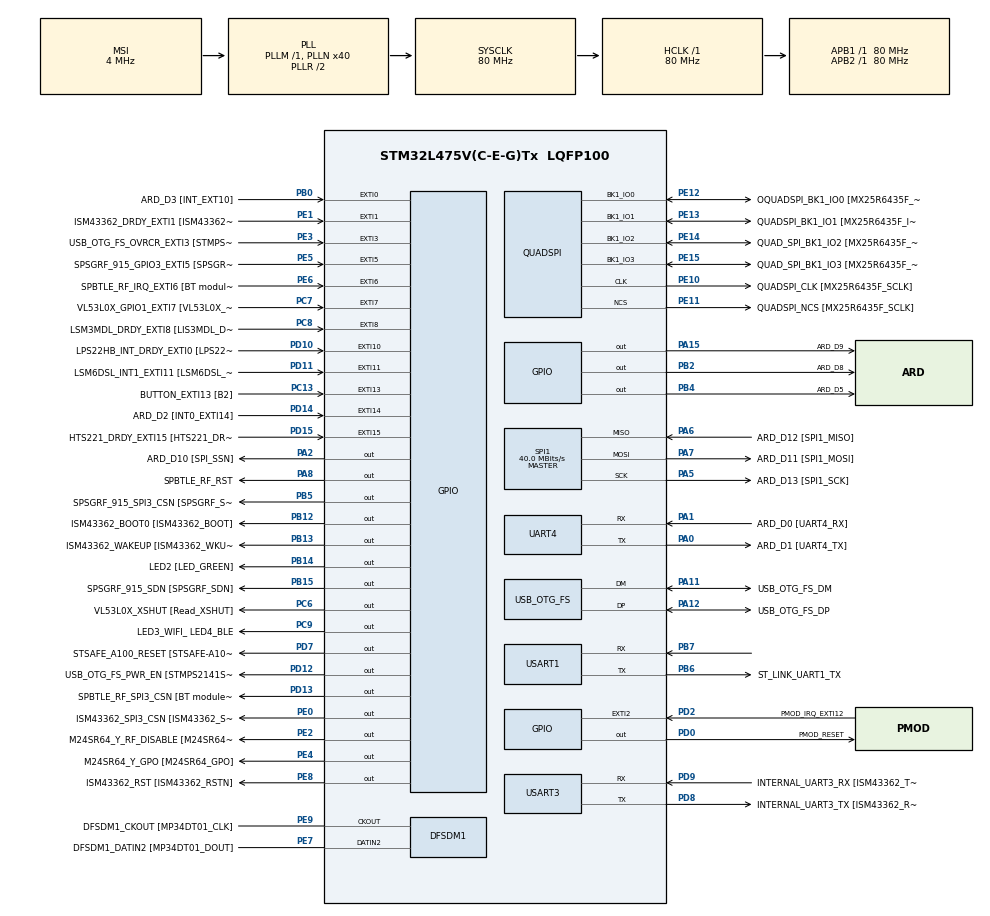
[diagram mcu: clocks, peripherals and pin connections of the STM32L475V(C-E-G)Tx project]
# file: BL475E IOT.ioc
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Mcu.Family=STM32L4
Mcu.Name=STM32L475V(C-E-G)Tx
Mcu.Package=LQFP100
NVIC.EXTI15_10_IRQn=true\:0\:0\:false\:false\:true\:true\:true\:true
NVIC.EXTI9_5_IRQn=true\:0\:0\:false\:false\:true\:true\:true\:true
NVIC.PriorityGroup=NVIC_PRIORITYGROUP_4
PA0.GPIO_Label=ARD_D1 [UART4_TX]
PA0.Mode=Asynchronous
PA0.Signal=UART4_TX
PA1.GPIO_Label=ARD_D0 [UART4_RX]
PA1.Mode=Asynchronous
PA1.Signal=UART4_RX
PA10.GPIO_Label=USB_OTG_FS_ID
PA10.Signal=USB_OTG_FS_ID
PA11.GPIO_Label=USB_OTG_FS_DM
PA11.Mode=Device_Only
PA11.Signal=USB_OTG_FS_DM
PA12.GPIO_Label=USB_OTG_FS_DP
PA12.Mode=Device_Only
PA12.Signal=USB_OTG_FS_DP
PA13\ (JTMS-SWDIO).GPIO_Label=SYS_JTMS_SWDIO
PA13\ (JTMS-SWDIO).Mode=Serial_Wire
PA13\ (JTMS-SWDIO).Signal=SYS_JTMS-SWDIO
PA14\ (JTCK-SWCLK).GPIO_Label=SYS_JTCK_SWCLK
PA14\ (JTCK-SWCLK).Mode=Serial_Wire
PA14\ (JTCK-SWCLK).Signal=SYS_JTCK-SWCLK
PA15\ (JTDI).GPIO_Label=ARD_D9
PA15\ (JTDI).Signal=GPIO_Output
PA2.GPIO_Label=ARD_D10 [SPI_SSN]
PA2.Signal=GPIO_Output
PA3.GPIO_Label=ARD_D4
PA3.Signal=S_TIM2_CH4
PA4.GPIO_Label=ARD_D7
PA4.Signal=ADCx_IN9
PA5.GPIO_Label=ARD_D13 [SPI1_SCK]
PA5.Mode=Full_Duplex_Master
PA5.Signal=SPI1_SCK
PA6.GPIO_Label=ARD_D12 [SPI1_MISO]
PA6.Mode=Full_Duplex_Master
PA6.Signal=SPI1_MISO
PA7.GPIO_Label=ARD_D11 [SPI1_MOSI]
PA7.Mode=Full_Duplex_Master
PA7.Signal=SPI1_MOSI
PA8.GPIO_Label=SPBTLE_RF_RST
PA8.Signal=GPIO_Output
PB0.GPIO_Label=ARD_D3 [INT_EXT10]
PB0.Signal=GPXTI0
PB1.GPIO_Label=ARD_D6 [ADC1_IN6]
PB1.Signal=ADCx_IN16
PB10.GPIO_Label=INTERNAL_I2C2_SCL [VL53L0X_SCL]
PB10.GPIO_Pu=GPIO_PULLUP
PB10.Signal=I2C2_SCL
PB11.GPIO_Label=INTERNAL_I2C2_SDA [VL53L0X_SDA]
PB11.GPIO_Pu=GPIO_PULLUP
PB11.Signal=I2C2_SDA
PB12.GPIO_Label=ISM43362_BOOT0 [ISM43362_BOOT]
PB12.Signal=GPIO_Output
PB13.GPIO_Label=ISM43362_WAKEUP [ISM43362_WKUP]
PB13.Signal=GPIO_Output
PB14.GPIO_Label=LED2 [LED_GREEN]
PB14.Signal=GPIO_Output
PB15.GPIO_Label=SPSGRF_915_SDN [SPSGRF_SDN]
PB15.Signal=GPIO_Output
PB2.GPIO_Label=ARD_D8
PB2.Signal=GPIO_Output
PB3\ (JTDO-TRACESWO).GPIO_Label=SYS_JTD0_SWO
PB3\ (JTDO-TRACESWO).Signal=SYS_JTDO-SWO
PB4\ (NJTRST).GPIO_Label=ARD_D5
PB4\ (NJTRST).Signal=GPIO_Output
PB5.GPIO_Label=SPSGRF_915_SPI3_CSN [SPSGRF_SPI_CS]
PB5.PinState=GPIO_PIN_SET
PB5.Signal=GPIO_Output
PB6.GPIO_Label=ST_LINK_UART1_TX
PB6.Mode=Asynchronous
PB6.Signal=USART1_TX
PB7.Mode=Asynchronous
PB7.Signal=USART1_RX
PB8.GPIO_Label=ARD_D15 [I2C1_SCL]
PB8.Signal=I2C1_SCL
PB9.GPIO_Label=ARD_D14 [I2C1_SDA]
PB9.Signal=I2C1_SDA
PC0.GPIO_Label=ARD_A5 [ADC]
PC0.Signal=ADCx_IN1
PC1.GPIO_Label=ARD_A4 [ADC]
PC1.Signal=ADCx_IN2
PC10.GPIO_Label=INTERNAL_SPI3_SCK [BT module_SPI_SCLK] [ISM43362_SCK]
PC10.Signal=SPI3_SCK
PC11.GPIO_Label=INTERNAL_SPI3_MISO [BT module_SPI_MISO] [ISM43362_MISO]
PC11.Signal=SPI3_MISO
PC12.GPIO_Label=INTERNAL_SPI3_MOSI [BT module_SPI_MOSI] [ISM43362_MOSI]
PC12.Signal=SPI3_MOSI
PC13.GPIO_Label=BUTTON_EXTI13 [B2]
PC13.GPIO_ModeDefaultEXTI=GPIO_MODE_IT_FALLING
PC13.Signal=GPXTI13
PC14-OSC32_IN\ (PC14).Mode=LSE-External-Oscillator
PC14-OSC32_IN\ (PC14).Signal=RCC_OSC32_IN
PC15-OSC32_OUT\ (PC15).Mode=LSE-External-Oscillator
PC15-OSC32_OUT\ (PC15).Signal=RCC_OSC32_OUT
PC2.GPIO_Label=ARD_A3 [ADC]
PC2.Signal=ADCx_IN3
PC3.GPIO_Label=ARD_A2 [ADC]
PC3.Signal=ADCx_IN4
PC4.GPIO_Label=ARD_A1 [ADC]
PC4.Signal=ADCx_IN13
PC5.GPIO_Label=ARD_A0 [ADC]
PC5.Signal=ADCx_IN14
PC6.GPIO_Label=VL53L0X_XSHUT [Read_XSHUT]
PC6.Signal=GPIO_Output
PC7.GPIO_Label=VL53L0X_GPIO1_EXTI7 [VL53L0X_GPIO1]
PC7.Signal=GPXTI7
PC8.GPIO_Label=LSM3MDL_DRDY_EXTI8 [LIS3MDL_DRDY]
PC8.Signal=GPXTI8
PC9.GPIO_Label=LED3_WIFI_ LED4_BLE
PC9.Signal=GPIO_Output
PD0.GPIO_Label=PMOD_RESET
PD0.Signal=GPIO_Output
PD1.GPIO_Label=PMOD_SPI2_SCK
PD1.Signal=SPI2_SCK
PD10.GPIO_Label=LPS22HB_INT_DRDY_EXTI0 [LPS22HB_INT_DRDY] 
PD10.Signal=GPXTI10
PD11.GPIO_Label=LSM6DSL_INT1_EXTI11 [LSM6DSL_INT1]
PD11.Signal=GPXTI11
PD12.GPIO_Label=USB_OTG_FS_PWR_EN [STMPS2141STR_EN]
PD12.Signal=GPIO_Output
PD13.GPIO_Label=SPBTLE_RF_SPI3_CSN [BT module_SPI_CS]
PD13.PinState=GPIO_PIN_SET
PD13.Signal=GPIO_Output
PD14.GPIO_Label=ARD_D2 [INT0_EXTI14]
PD14.Signal=GPXTI14
PD15.GPIO_Label=HTS221_DRDY_EXTI15 [HTS221_DRDY]
PD15.Signal=GPXTI15
PD2.GPIO_Label=PMOD_IRQ_EXTI12
PD2.Signal=GPXTI2
PD3.GPIO_Label=PMOD_UART2_CTS
PD3.Signal=USART2_CTS
PD4.GPIO_Label=PMOD_UART2_RTS
PD4.Signal=USART2_RTS
PD5.GPIO_Label=PMOD_UART2_TX
PD5.Signal=USART2_TX
PD6.GPIO_Label=PMOD_UART2_RX
PD6.Signal=USART2_RX
PD7.GPIO_Label=STSAFE_A100_RESET [STSAFE-A100_RESET]
PD7.Signal=GPIO_Output
PD8.GPIO_Label=INTERNAL_UART3_TX [ISM43362_RX]
PD8.Mode=Asynchronous
PD8.Signal=USART3_TX
PD9.GPIO_Label=INTERNAL_UART3_RX [ISM43362_TX]
PD9.Mode=Asynchronous
PD9.Signal=USART3_RX
PE0.GPIO_Label=ISM43362_SPI3_CSN [ISM43362_SSN]
PE0.PinState=GPIO_PIN_SET
PE0.Signal=GPIO_Output
PE1.GPIO_Label=ISM43362_DRDY_EXTI1 [ISM43362_DATARDY]
PE1.Signal=GPXTI1
PE10.GPIO_Label=QUADSPI_CLK [MX25R6435F_SCLK]
PE10.Mode=Single Bank
PE10.Signal=QUADSPI_CLK
PE11.GPIO_Label=QUADSPI_NCS [MX25R6435F_SCLK]
PE11.Mode=Single Bank
PE11.Signal=QUADSPI_NCS
PE12.GPIO_Label=OQUADSPI_BK1_IO0 [MX25R6435F_IO0]
PE12.Mode=Single Bank
PE12.Signal=QUADSPI_BK1_IO0
PE13.GPIO_Label=QUADSPI_BK1_IO1 [MX25R6435F_IO1]
PE13.Mode=Single Bank
PE13.Signal=QUADSPI_BK1_IO1
PE14.GPIO_Label=QUAD_SPI_BK1_IO2 [MX25R6435F_IO2]
PE14.Mode=Single Bank
PE14.Signal=QUADSPI_BK1_IO2
PE15.GPIO_Label=QUAD_SPI_BK1_IO3 [MX25R6435F_IO3]
PE15.Mode=Single Bank
PE15.Signal=QUADSPI_BK1_IO3
PE2.GPIO_Label=M24SR64_Y_RF_DISABLE [M24SR64_RFDIS]
PE2.Signal=GPIO_Output
PE3.GPIO_Label=USB_OTG_FS_OVRCR_EXTI3 [STMPS2141STR_FAULT]
PE3.Signal=GPXTI3
PE4.GPIO_Label=M24SR64_Y_GPO [M24SR64_GPO]
PE4.Signal=GPIO_Output
PE5.GPIO_Label=SPSGRF_915_GPIO3_EXTI5 [SPSGRF_GPIO_3]
PE5.Signal=GPXTI5
PE6.GPIO_Label=SPBTLE_RF_IRQ_EXTI6 [BT module_SPI_IRQ]
PE6.Signal=GPXTI6
PE7.GPIO_Label=DFSDM1_DATIN2 [MP34DT01_DOUT]
PE7.Signal=S_DATAIN2DFSDM1
PE8.GPIO_Label=ISM43362_RST [ISM43362_RSTN]
PE8.Signal=GPIO_Output
PE9.GPIO_Label=DFSDM1_CKOUT [MP34DT01_CLK]
PE9.Signal=S_CKOUTDFSDM1
ProjectManager.HeapSize=0x200
ProjectManager.StackSize=0x400
ProjectManager.TargetToolchain=STM32CubeIDE
QUADSPI.ClockPrescaler=2
QUADSPI.FifoThreshold=4
QUADSPI.FlashSize=23
QUADSPI.SampleShifting=QSPI_SAMPLE_SHIFTING_HALFCYCLE
RCC.ADCFreq_Value=48000000
RCC.AHBFreq_Value=80000000
RCC.APB1Freq_Value=80000000
RCC.APB1TimFreq_Value=80000000
RCC.APB2Freq_Value=80000000
RCC.APB2TimFreq_Value=80000000
RCC.CortexFreq_Value=80000000
RCC.HCLKFreq_Value=80000000
RCC.HSE_VALUE=8000000
RCC.HSI_VALUE=16000000
RCC.MSI_VALUE=4000000
RCC.PLLN=40
RCC.PLLSAI1N=24
RCC.SYSCLKFreq_VALUE=80000000
RCC.SYSCLKSource=RCC_SYSCLKSOURCE_PLLCLK
RCC.USBFreq_Value=48000000
RCC.VCOOutputFreq_Value=160000000
SH.ADCx_IN1.0=ADC1_IN1
SH.ADCx_IN13.0=ADC1_IN13
SH.ADCx_IN14.0=ADC1_IN14
SH.ADCx_IN16.0=ADC1_IN16
SH.ADCx_IN2.0=ADC1_IN2
SH.ADCx_IN3.0=ADC1_IN3
SH.ADCx_IN4.0=ADC1_IN4
SH.ADCx_IN9.0=ADC1_IN9
SH.S_CKOUTDFSDM1.0=DFSDM1_CKOUT,CKOUT
SH.S_CKOUTDFSDM1.1=DFSDM1_CKOUT,PDM_SPI_Input_from_ch12_and_Internal_Clock
SH.S_DATAIN2DFSDM1.0=DFSDM1_DATIN2,PDM_SPI_Input_from_ch12_and_Internal_Clock
SH.S_TIM2_CH4.0=TIM2_CH4
SPI1.CalculateBaudRate=40.0 MBits/s
SPI1.Direction=SPI_DIRECTION_2LINES
SPI1.Mode=SPI_MODE_MASTER
SPI1.VirtualType=VM_MASTER
USART1.VirtualMode-Asynchronous=VM_ASYNC
USART3.VirtualMode-Asynchronous=VM_ASYNC
USB_OTG_FS.VirtualMode=Device_Only
board=B-L475E-IOT01A2

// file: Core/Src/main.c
/* USER CODE BEGIN Header */
/**
 ******************************************************************************
 * @file           : main.c
 * @brief          : Main program body
 ******************************************************************************
 * @attention
 *
 * Copyright (c) 2023 STMicroelectronics.
 * All rights reserved.
 *
 * This software is licensed under terms that can be found in the LICENSE file
 * in the root directory of this software component.
 * If no LICENSE file comes with this software, it is provided AS-IS.
 *
 ******************************************************************************
 */
/* USER CODE END Header */
#include "main.h"

/* USER CODE BEGIN Includes */
#include "stm32l475e_iot01.h"
#include "stm32l475e_iot01_tsensor.h"
#include "stm32l475e_iot01_hsensor.h"
#include "stm32l475e_iot01_psensor.h"
#include "wifi.h"
#include <math.h>
/* USER CODE END Includes */

/* USER CODE BEGIN PD */
#define WIFI_SSID "Livebox-22D0_5GHz"
#define WIFI_PASSWD "qrvN2TXtx4S2kvFVHD"
/* USER CODE END PD */

DFSDM_Channel_HandleTypeDef hdfsdm1_channel1;

QSPI_HandleTypeDef hqspi;

SPI_HandleTypeDef hspi1;

UART_HandleTypeDef huart4;
UART_HandleTypeDef huart1;
UART_HandleTypeDef huart3;

PCD_HandleTypeDef hpcd_USB_OTG_FS;

/* USER CODE BEGIN PV */
uint8_t MAC_Addr[6];
uint8_t IP_Addr[4];
float temp_value = 0;
float h_value = 0;
float p_value = 0;      // Measured temperature value
char str_tmp[100] = ""; // Formatted message to display the temperature value
char str_macaddr[100] = "";
char str_ip[100] = "";
uint8_t msg1[] = "=====> All sensors are initialized \r\n ";
uint8_t msg2[] = "****** WELCOME TO Mathis's room IoT service v1.0.0 ******\n\n\r";
/* USER CODE END PV */

void SystemClock_Config(void);
static void MX_GPIO_Init(void);
static void MX_DFSDM1_Init(void);
static void MX_QUADSPI_Init(void);
static void MX_USART1_UART_Init(void);
static void MX_USART3_UART_Init(void);
static void MX_USB_OTG_FS_PCD_Init(void);
static void MX_SPI1_Init(void);
static void MX_UART4_Init(void);
void transmit_string(char *StrArg)
{
  HAL_UART_Transmit(&huart1, (uint8_t *)StrArg, strlen(StrArg), 10);
}

int main(void)
{
  /* MCU Configuration--------------------------------------------------------*/

  /* Reset of all peripherals, Initializes the Flash interface and the Systick. */
  HAL_Init();

  /* Configure the system clock */
  SystemClock_Config();

  /* Initialize all configured peripherals */
  MX_GPIO_Init();
  MX_DFSDM1_Init();
  MX_QUADSPI_Init();
  MX_USART1_UART_Init();
  MX_USART3_UART_Init();
  MX_USB_OTG_FS_PCD_Init();
  MX_SPI1_Init();
  MX_UART4_Init();
  /* USER CODE BEGIN 2 */

  BSP_TSENSOR_Init();
  BSP_HSENSOR_Init();
  BSP_PSENSOR_Init();
  HAL_UART_Transmit(&huart1, msg1, sizeof(msg1), 10);
  HAL_UART_Transmit(&huart1, msg2, sizeof(msg2), 10);

  while (1)
  {
    if (WIFI_Init() == WIFI_STATUS_OK)
    {
      /*transmit_string("> Module Initialized \n");*/
      /*if (WIFI_GetMAC_Address(MAC_Addr) == WIFI_STATUS_OK)
      {
        snprintf(str_macaddr, 75, "> es-wifi module MAC Address : %X:%X:%X:%X:%X:%X\n",
                 MAC_Addr[0],
                 MAC_Addr[1],
                 MAC_Addr[2],
                 MAC_Addr[3],
                 MAC_Addr[4],
                 MAC_Addr[5]);
        HAL_UART_Transmit(&huart1, (uint8_t *)str_macaddr, sizeof(str_macaddr), 100);
      }
      else
      {
        transmit_string("> ERROR : CANNOT get MAC address\n");
        continue;
      }*/

      if (WIFI_Connect(WIFI_SSID, WIFI_PASSWD, 0x03) == WIFI_STATUS_OK)
      {
        /*transmit_string("Module connecte !! \n\n\r");*/

        if (WIFI_GetIP_Address(IP_Addr) == WIFI_STATUS_OK)
        {
          snprintf(str_ip, 100, "> Le module WIFI a l'adresse IP : %d.%d.%d.%d\n\n\r", IP_Addr[0], IP_Addr[1], IP_Addr[2], IP_Addr[3]);
          HAL_UART_Transmit(&huart1, (uint8_t *)str_ip, sizeof(str_ip), 100);

          uint32_t socket = 0;
          const char *name = "api.mathislambert.fr";
          uint8_t ipaddr[] = {179, 61, 246, 134};
          uint16_t port = 80;
          uint16_t local_port = 61534;
          while (1)
          {
            if (WIFI_OpenClientConnection(socket, WIFI_TCP_PROTOCOL, name, ipaddr, port, local_port) == WIFI_STATUS_OK)
            {

              /*transmit_string("> Connected to the server ! \n\r");*/

              temp_value = BSP_TSENSOR_ReadTemp();
              h_value = BSP_HSENSOR_ReadHumidity();
              p_value = BSP_PSENSOR_ReadPressure();
              int tmpInt1 = temp_value;
              int humInt1 = h_value;
              int presInt1 = p_value;
              float tmpFrac = temp_value - tmpInt1;
              float humFrac = h_value - humInt1;
              float presFrac = p_value - presInt1;
              int tmpInt2 = trunc(tmpFrac * 100);
              int humInt2 = trunc(humFrac * 100);
              int presInt2 = trunc(presFrac * 100);

              char json_data[150];
              snprintf(json_data, 150, "{\"values\": {\"temp\": %d.%02d, \"hum\": %d.%02d, \"pressure\": %d.%02d}}", tmpInt1, tmpInt2, humInt1, humInt2, presInt1, presInt2);

              unsigned char pdata[250];
              snprintf((char *)pdata, 250, "POST / HTTP/1.1\r\nHost: api.mathislambert.fr\r\nContent-Type: application/json\r\nContent-Length: %d\r\n\r\n%s\r\n", strlen(json_data), json_data); // données JSON
              uint16_t Reqlen = sizeof(pdata) - 1;                                                                                                                                               // longueur des données
              uint16_t SentDatalen;                                                                                                                                                              // nombre de données envoyées
              uint32_t Timeout = 10000;                                                                                                                                                          // 1 secondes de délai d'attente

              if (WIFI_SendData(socket, (unsigned char *)pdata, Reqlen, &SentDatalen, Timeout) == WIFI_STATUS_OK)
              {
                /*transmit_string("> Data sent successfully \n\r");*/

                uint8_t RcvData[512];
                uint16_t RcvDatalen;
                uint32_t Timeout = 10000;

                if (WIFI_ReceiveData(socket, RcvData, sizeof(RcvData), &RcvDatalen, Timeout) == WIFI_STATUS_OK)
                {
                  /*transmit_string("> Response received \n\r");*/

                  if (WIFI_CloseClientConnection(socket) == WIFI_STATUS_OK)
                  {
                    /*transmit_string("> Disconnected successfully \n\n\r");*/
                    HAL_Delay(300000);
                  }
                  else
                  {
                    transmit_string("> Impossible to disconnect \n\r");
                    break;
                  }
                }
                else
                {
                  transmit_string("> Error during data reception \n\r");
                  break;
                }
              }
              else
              {
                transmit_string("Unable to send date \n\r");
                break;
              }
            }
            else
            {
              transmit_string("> Unable to connect to the server \n\n\r");
              break;
            }
          }
        }
        else
        {
          transmit_string("> le module ES_WIFI ne peut pas obtenir l'adresse IP\n\r");
          continue;
        }
      }
      else
      {
        transmit_string("Erreur de connexion du module \n\r");
        continue;
      }
    }
    else
    {
      transmit_string("> ERROR initializing WIFI MODULE. \n\r");
      continue;
    }
    /* USER CODE END 2 */
  }
  return 0;
}

void SystemClock_Config(void)
{
  RCC_OscInitTypeDef RCC_OscInitStruct = {0};
  RCC_ClkInitTypeDef RCC_ClkInitStruct = {0};

  /** Configure the main internal regulator output voltage
   */
  if (HAL_PWREx_ControlVoltageScaling(PWR_REGULATOR_VOLTAGE_SCALE1) != HAL_OK)
  {
    Error_Handler();
  }

  /** Configure LSE Drive Capability
   */
  HAL_PWR_EnableBkUpAccess();
  __HAL_RCC_LSEDRIVE_CONFIG(RCC_LSEDRIVE_LOW);

  /** Initializes the RCC Oscillators according to the specified parameters
   * in the RCC_OscInitTypeDef structure.
   */
  RCC_OscInitStruct.OscillatorType = RCC_OSCILLATORTYPE_LSE | RCC_OSCILLATORTYPE_MSI;
  RCC_OscInitStruct.LSEState = RCC_LSE_ON;
  RCC_OscInitStruct.MSIState = RCC_MSI_ON;
  RCC_OscInitStruct.MSICalibrationValue = 0;
  RCC_OscInitStruct.MSIClockRange = RCC_MSIRANGE_6;
  RCC_OscInitStruct.PLL.PLLState = RCC_PLL_ON;
  RCC_OscInitStruct.PLL.PLLSource = RCC_PLLSOURCE_MSI;
  RCC_OscInitStruct.PLL.PLLM = 1;
  RCC_OscInitStruct.PLL.PLLN = 40;
  RCC_OscInitStruct.PLL.PLLP = RCC_PLLP_DIV7;
  RCC_OscInitStruct.PLL.PLLQ = RCC_PLLQ_DIV2;
  RCC_OscInitStruct.PLL.PLLR = RCC_PLLR_DIV2;
  if (HAL_RCC_OscConfig(&RCC_OscInitStruct) != HAL_OK)
  {
    Error_Handler();
  }

  /** Initializes the CPU, AHB and APB buses clocks
   */
  RCC_ClkInitStruct.ClockType = RCC_CLOCKTYPE_HCLK | RCC_CLOCKTYPE_SYSCLK | RCC_CLOCKTYPE_PCLK1 | RCC_CLOCKTYPE_PCLK2;
  RCC_ClkInitStruct.SYSCLKSource = RCC_SYSCLKSOURCE_PLLCLK;
  RCC_ClkInitStruct.AHBCLKDivider = RCC_SYSCLK_DIV1;
  RCC_ClkInitStruct.APB1CLKDivider = RCC_HCLK_DIV1;
  RCC_ClkInitStruct.APB2CLKDivider = RCC_HCLK_DIV1;

  if (HAL_RCC_ClockConfig(&RCC_ClkInitStruct, FLASH_LATENCY_4) != HAL_OK)
  {
    Error_Handler();
  }

  /** Enable MSI Auto calibration
   */
  HAL_RCCEx_EnableMSIPLLMode();
}

static void MX_DFSDM1_Init(void)
{

  hdfsdm1_channel1.Instance = DFSDM1_Channel1;
  hdfsdm1_channel1.Init.OutputClock.Activation = ENABLE;
  hdfsdm1_channel1.Init.OutputClock.Selection = DFSDM_CHANNEL_OUTPUT_CLOCK_SYSTEM;
  hdfsdm1_channel1.Init.OutputClock.Divider = 2;
  hdfsdm1_channel1.Init.Input.Multiplexer = DFSDM_CHANNEL_EXTERNAL_INPUTS;
  hdfsdm1_channel1.Init.Input.DataPacking = DFSDM_CHANNEL_STANDARD_MODE;
  hdfsdm1_channel1.Init.Input.Pins = DFSDM_CHANNEL_FOLLOWING_CHANNEL_PINS;
  hdfsdm1_channel1.Init.SerialInterface.Type = DFSDM_CHANNEL_SPI_RISING;
  hdfsdm1_channel1.Init.SerialInterface.SpiClock = DFSDM_CHANNEL_SPI_CLOCK_INTERNAL;
  hdfsdm1_channel1.Init.Awd.FilterOrder = DFSDM_CHANNEL_FASTSINC_ORDER;
  hdfsdm1_channel1.Init.Awd.Oversampling = 1;
  hdfsdm1_channel1.Init.Offset = 0;
  hdfsdm1_channel1.Init.RightBitShift = 0x00;
  if (HAL_DFSDM_ChannelInit(&hdfsdm1_channel1) != HAL_OK)
  {
    Error_Handler();
  }
}

static void MX_QUADSPI_Init(void)
{

  /* QUADSPI parameter configuration*/
  hqspi.Instance = QUADSPI;
  hqspi.Init.ClockPrescaler = 2;
  hqspi.Init.FifoThreshold = 4;
  hqspi.Init.SampleShifting = QSPI_SAMPLE_SHIFTING_HALFCYCLE;
  hqspi.Init.FlashSize = 23;
  hqspi.Init.ChipSelectHighTime = QSPI_CS_HIGH_TIME_1_CYCLE;
  hqspi.Init.ClockMode = QSPI_CLOCK_MODE_0;
  if (HAL_QSPI_Init(&hqspi) != HAL_OK)
  {
    Error_Handler();
  }
}

static void MX_SPI1_Init(void)
{

  /* SPI1 parameter configuration*/
  hspi1.Instance = SPI1;
  hspi1.Init.Mode = SPI_MODE_MASTER;
  hspi1.Init.Direction = SPI_DIRECTION_2LINES;
  hspi1.Init.DataSize = SPI_DATASIZE_4BIT;
  hspi1.Init.CLKPolarity = SPI_POLARITY_LOW;
  hspi1.Init.CLKPhase = SPI_PHASE_1EDGE;
  hspi1.Init.NSS = SPI_NSS_SOFT;
  hspi1.Init.BaudRatePrescaler = SPI_BAUDRATEPRESCALER_2;
  hspi1.Init.FirstBit = SPI_FIRSTBIT_MSB;
  hspi1.Init.TIMode = SPI_TIMODE_DISABLE;
  hspi1.Init.CRCCalculation = SPI_CRCCALCULATION_DISABLE;
  hspi1.Init.CRCPolynomial = 7;
  hspi1.Init.CRCLength = SPI_CRC_LENGTH_DATASIZE;
  hspi1.Init.NSSPMode = SPI_NSS_PULSE_ENABLE;
  if (HAL_SPI_Init(&hspi1) != HAL_OK)
  {
    Error_Handler();
  }
}

static void MX_UART4_Init(void)
{

  huart4.Instance = UART4;
  huart4.Init.BaudRate = 115200;
  huart4.Init.WordLength = UART_WORDLENGTH_8B;
  huart4.Init.StopBits = UART_STOPBITS_1;
  huart4.Init.Parity = UART_PARITY_NONE;
  huart4.Init.Mode = UART_MODE_TX_RX;
  huart4.Init.HwFlowCtl = UART_HWCONTROL_NONE;
  huart4.Init.OverSampling = UART_OVERSAMPLING_16;
  huart4.Init.OneBitSampling = UART_ONE_BIT_SAMPLE_DISABLE;
  huart4.AdvancedInit.AdvFeatureInit = UART_ADVFEATURE_NO_INIT;
  if (HAL_UART_Init(&huart4) != HAL_OK)
  {
    Error_Handler();
  }
}

static void MX_USART1_UART_Init(void)
{

  huart1.Instance = USART1;
  huart1.Init.BaudRate = 115200;
  huart1.Init.WordLength = UART_WORDLENGTH_8B;
  huart1.Init.StopBits = UART_STOPBITS_1;
  huart1.Init.Parity = UART_PARITY_NONE;
  huart1.Init.Mode = UART_MODE_TX_RX;
  huart1.Init.HwFlowCtl = UART_HWCONTROL_NONE;
  huart1.Init.OverSampling = UART_OVERSAMPLING_16;
  huart1.Init.OneBitSampling = UART_ONE_BIT_SAMPLE_DISABLE;
  huart1.AdvancedInit.AdvFeatureInit = UART_ADVFEATURE_NO_INIT;
  if (HAL_UART_Init(&huart1) != HAL_OK)
  {
    Error_Handler();
  }
}

static void MX_USART3_UART_Init(void)
{

  huart3.Instance = USART3;
  huart3.Init.BaudRate = 115200;
  huart3.Init.WordLength = UART_WORDLENGTH_8B;
  huart3.Init.StopBits = UART_STOPBITS_1;
  huart3.Init.Parity = UART_PARITY_NONE;
  huart3.Init.Mode = UART_MODE_TX_RX;
  huart3.Init.HwFlowCtl = UART_HWCONTROL_NONE;
  huart3.Init.OverSampling = UART_OVERSAMPLING_16;
  huart3.Init.OneBitSampling = UART_ONE_BIT_SAMPLE_DISABLE;
  huart3.AdvancedInit.AdvFeatureInit = UART_ADVFEATURE_NO_INIT;
  if (HAL_UART_Init(&huart3) != HAL_OK)
  {
    Error_Handler();
  }
}

static void MX_USB_OTG_FS_PCD_Init(void)
{

  hpcd_USB_OTG_FS.Instance = USB_OTG_FS;
  hpcd_USB_OTG_FS.Init.dev_endpoints = 6;
  hpcd_USB_OTG_FS.Init.speed = PCD_SPEED_FULL;
  hpcd_USB_OTG_FS.Init.phy_itface = PCD_PHY_EMBEDDED;
  hpcd_USB_OTG_FS.Init.Sof_enable = DISABLE;
  hpcd_USB_OTG_FS.Init.low_power_enable = DISABLE;
  hpcd_USB_OTG_FS.Init.lpm_enable = DISABLE;
  hpcd_USB_OTG_FS.Init.battery_charging_enable = DISABLE;
  hpcd_USB_OTG_FS.Init.use_dedicated_ep1 = DISABLE;
  hpcd_USB_OTG_FS.Init.vbus_sensing_enable = DISABLE;
  if (HAL_PCD_Init(&hpcd_USB_OTG_FS) != HAL_OK)
  {
    Error_Handler();
  }
}

static void MX_GPIO_Init(void)
{
  GPIO_InitTypeDef GPIO_InitStruct = {0};

  /* GPIO Ports Clock Enable */
  __HAL_RCC_GPIOE_CLK_ENABLE();
  __HAL_RCC_GPIOC_CLK_ENABLE();
  __HAL_RCC_GPIOA_CLK_ENABLE();
  __HAL_RCC_GPIOB_CLK_ENABLE();
  __HAL_RCC_GPIOD_CLK_ENABLE();

  /*Configure GPIO pin Output Level */
  HAL_GPIO_WritePin(GPIOE, M24SR64_Y_RF_DISABLE_Pin | M24SR64_Y_GPO_Pin | ISM43362_RST_Pin, GPIO_PIN_RESET);

  /*Configure GPIO pin Output Level */
  HAL_GPIO_WritePin(GPIOA, ARD_D10_Pin | SPBTLE_RF_RST_Pin | ARD_D9_Pin, GPIO_PIN_RESET);

  /*Configure GPIO pin Output Level */
  HAL_GPIO_WritePin(GPIOB, ARD_D8_Pin | ISM43362_BOOT0_Pin | ISM43362_WAKEUP_Pin | LED2_Pin | SPSGRF_915_SDN_Pin | ARD_D5_Pin, GPIO_PIN_RESET);

  /*Configure GPIO pin Output Level */
  HAL_GPIO_WritePin(GPIOD, USB_OTG_FS_PWR_EN_Pin | PMOD_RESET_Pin | STSAFE_A100_RESET_Pin, GPIO_PIN_RESET);

  /*Configure GPIO pin Output Level */
  HAL_GPIO_WritePin(SPBTLE_RF_SPI3_CSN_GPIO_Port, SPBTLE_RF_SPI3_CSN_Pin, GPIO_PIN_SET);

  /*Configure GPIO pin Output Level */
  HAL_GPIO_WritePin(GPIOC, VL53L0X_XSHUT_Pin | LED3_WIFI__LED4_BLE_Pin, GPIO_PIN_RESET);

  /*Configure GPIO pin Output Level */
  HAL_GPIO_WritePin(SPSGRF_915_SPI3_CSN_GPIO_Port, SPSGRF_915_SPI3_CSN_Pin, GPIO_PIN_SET);

  /*Configure GPIO pin Output Level */
  HAL_GPIO_WritePin(ISM43362_SPI3_CSN_GPIO_Port, ISM43362_SPI3_CSN_Pin, GPIO_PIN_SET);

  /*Configure GPIO pins : M24SR64_Y_RF_DISABLE_Pin M24SR64_Y_GPO_Pin ISM43362_RST_Pin ISM43362_SPI3_CSN_Pin */
  GPIO_InitStruct.Pin = M24SR64_Y_RF_DISABLE_Pin | M24SR64_Y_GPO_Pin | ISM43362_RST_Pin | ISM43362_SPI3_CSN_Pin;
  GPIO_InitStruct.Mode = GPIO_MODE_OUTPUT_PP;
  GPIO_InitStruct.Pull = GPIO_NOPULL;
  GPIO_InitStruct.Speed = GPIO_SPEED_FREQ_LOW;
  HAL_GPIO_Init(GPIOE, &GPIO_InitStruct);

  /*Configure GPIO pins : USB_OTG_FS_OVRCR_EXTI3_Pin SPSGRF_915_GPIO3_EXTI5_Pin SPBTLE_RF_IRQ_EXTI6_Pin ISM43362_DRDY_EXTI1_Pin */
  GPIO_InitStruct.Pin = USB_OTG_FS_OVRCR_EXTI3_Pin | SPSGRF_915_GPIO3_EXTI5_Pin | SPBTLE_RF_IRQ_EXTI6_Pin | ISM43362_DRDY_EXTI1_Pin;
  GPIO_InitStruct.Mode = GPIO_MODE_IT_RISING;
  GPIO_InitStruct.Pull = GPIO_NOPULL;
  HAL_GPIO_Init(GPIOE, &GPIO_InitStruct);

  /*Configure GPIO pin : BUTTON_EXTI13_Pin */
  GPIO_InitStruct.Pin = BUTTON_EXTI13_Pin;
  GPIO_InitStruct.Mode = GPIO_MODE_IT_FALLING;
  GPIO_InitStruct.Pull = GPIO_NOPULL;
  HAL_GPIO_Init(BUTTON_EXTI13_GPIO_Port, &GPIO_InitStruct);

  /*Configure GPIO pins : ARD_A5_Pin ARD_A4_Pin ARD_A3_Pin ARD_A2_Pin
                           ARD_A1_Pin ARD_A0_Pin */
  GPIO_InitStruct.Pin = ARD_A5_Pin | ARD_A4_Pin | ARD_A3_Pin | ARD_A2_Pin | ARD_A1_Pin | ARD_A0_Pin;
  GPIO_InitStruct.Mode = GPIO_MODE_ANALOG_ADC_CONTROL;
  GPIO_InitStruct.Pull = GPIO_NOPULL;
  HAL_GPIO_Init(GPIOC, &GPIO_InitStruct);

  /*Configure GPIO pins : ARD_D10_Pin SPBTLE_RF_RST_Pin ARD_D9_Pin */
  GPIO_InitStruct.Pin = ARD_D10_Pin | SPBTLE_RF_RST_Pin | ARD_D9_Pin;
  GPIO_InitStruct.Mode = GPIO_MODE_OUTPUT_PP;
  GPIO_InitStruct.Pull = GPIO_NOPULL;
  GPIO_InitStruct.Speed = GPIO_SPEED_FREQ_LOW;
  HAL_GPIO_Init(GPIOA, &GPIO_InitStruct);

  /*Configure GPIO pin : ARD_D4_Pin */
  GPIO_InitStruct.Pin = ARD_D4_Pin;
  GPIO_InitStruct.Mode = GPIO_MODE_AF_PP;
  GPIO_InitStruct.Pull = GPIO_NOPULL;
  GPIO_InitStruct.Speed = GPIO_SPEED_FREQ_LOW;
  GPIO_InitStruct.Alternate = GPIO_AF1_TIM2;
  HAL_GPIO_Init(ARD_D4_GPIO_Port, &GPIO_InitStruct);

  /*Configure GPIO pin : ARD_D7_Pin */
  GPIO_InitStruct.Pin = ARD_D7_Pin;
  GPIO_InitStruct.Mode = GPIO_MODE_ANALOG_ADC_CONTROL;
  GPIO_InitStruct.Pull = GPIO_NOPULL;
  HAL_GPIO_Init(ARD_D7_GPIO_Port, &GPIO_InitStruct);

  /*Configure GPIO pin : ARD_D3_Pin */
  GPIO_InitStruct.Pin = ARD_D3_Pin;
  GPIO_InitStruct.Mode = GPIO_MODE_IT_RISING;
  GPIO_InitStruct.Pull = GPIO_NOPULL;
  HAL_GPIO_Init(ARD_D3_GPIO_Port, &GPIO_InitStruct);

  /*Configure GPIO pin : ARD_D6_Pin */
  GPIO_InitStruct.Pin = ARD_D6_Pin;
  GPIO_InitStruct.Mode = GPIO_MODE_ANALOG_ADC_CONTROL;
  GPIO_InitStruct.Pull = GPIO_NOPULL;
  HAL_GPIO_Init(ARD_D6_GPIO_Port, &GPIO_InitStruct);

  /*Configure GPIO pins : ARD_D8_Pin ISM43362_BOOT0_Pin ISM43362_WAKEUP_Pin LED2_Pin
                           SPSGRF_915_SDN_Pin ARD_D5_Pin SPSGRF_915_SPI3_CSN_Pin */
  GPIO_InitStruct.Pin = ARD_D8_Pin | ISM43362_BOOT0_Pin | ISM43362_WAKEUP_Pin | LED2_Pin | SPSGRF_915_SDN_Pin | ARD_D5_Pin | SPSGRF_915_SPI3_CSN_Pin;
  GPIO_InitStruct.Mode = GPIO_MODE_OUTPUT_PP;
  GPIO_InitStruct.Pull = GPIO_NOPULL;
  GPIO_InitStruct.Speed = GPIO_SPEED_FREQ_LOW;
  HAL_GPIO_Init(GPIOB, &GPIO_InitStruct);

  /*Configure GPIO pins : INTERNAL_I2C2_SCL_Pin INTERNAL_I2C2_SDA_Pin */
  GPIO_InitStruct.Pin = INTERNAL_I2C2_SCL_Pin | INTERNAL_I2C2_SDA_Pin;
  GPIO_InitStruct.Mode = GPIO_MODE_AF_OD;
  GPIO_InitStruct.Pull = GPIO_PULLUP;
  GPIO_InitStruct.Speed = GPIO_SPEED_FREQ_VERY_HIGH;
  GPIO_InitStruct.Alternate = GPIO_AF4_I2C2;
  HAL_GPIO_Init(GPIOB, &GPIO_InitStruct);

  /*Configure GPIO pins : LPS22HB_INT_DRDY_EXTI0_Pin LSM6DSL_INT1_EXTI11_Pin ARD_D2_Pin HTS221_DRDY_EXTI15_Pin
                           PMOD_IRQ_EXTI12_Pin */
  GPIO_InitStruct.Pin = LPS22HB_INT_DRDY_EXTI0_Pin | LSM6DSL_INT1_EXTI11_Pin | ARD_D2_Pin | HTS221_DRDY_EXTI15_Pin | PMOD_IRQ_EXTI12_Pin;
  GPIO_InitStruct.Mode = GPIO_MODE_IT_RISING;
  GPIO_InitStruct.Pull = GPIO_NOPULL;
  HAL_GPIO_Init(GPIOD, &GPIO_InitStruct);

  /*Configure GPIO pins : USB_OTG_FS_PWR_EN_Pin SPBTLE_RF_SPI3_CSN_Pin PMOD_RESET_Pin STSAFE_A100_RESET_Pin */
  GPIO_InitStruct.Pin = USB_OTG_FS_PWR_EN_Pin | SPBTLE_RF_SPI3_CSN_Pin | PMOD_RESET_Pin | STSAFE_A100_RESET_Pin;
  GPIO_InitStruct.Mode = GPIO_MODE_OUTPUT_PP;
  GPIO_InitStruct.Pull = GPIO_NOPULL;
  GPIO_InitStruct.Speed = GPIO_SPEED_FREQ_LOW;
  HAL_GPIO_Init(GPIOD, &GPIO_InitStruct);

  /*Configure GPIO pins : VL53L0X_XSHUT_Pin LED3_WIFI__LED4_BLE_Pin */
  GPIO_InitStruct.Pin = VL53L0X_XSHUT_Pin | LED3_WIFI__LED4_BLE_Pin;
  GPIO_InitStruct.Mode = GPIO_MODE_OUTPUT_PP;
  GPIO_InitStruct.Pull = GPIO_NOPULL;
  GPIO_InitStruct.Speed = GPIO_SPEED_FREQ_LOW;
  HAL_GPIO_Init(GPIOC, &GPIO_InitStruct);

  /*Configure GPIO pins : VL53L0X_GPIO1_EXTI7_Pin LSM3MDL_DRDY_EXTI8_Pin */
  GPIO_InitStruct.Pin = VL53L0X_GPIO1_EXTI7_Pin | LSM3MDL_DRDY_EXTI8_Pin;
  GPIO_InitStruct.Mode = GPIO_MODE_IT_RISING;
  GPIO_InitStruct.Pull = GPIO_NOPULL;
  HAL_GPIO_Init(GPIOC, &GPIO_InitStruct);

  /*Configure GPIO pins : INTERNAL_SPI3_SCK_Pin INTERNAL_SPI3_MISO_Pin INTERNAL_SPI3_MOSI_Pin */
  GPIO_InitStruct.Pin = INTERNAL_SPI3_SCK_Pin | INTERNAL_SPI3_MISO_Pin | INTERNAL_SPI3_MOSI_Pin;
  GPIO_InitStruct.Mode = GPIO_MODE_AF_PP;
  GPIO_InitStruct.Pull = GPIO_NOPULL;
  GPIO_InitStruct.Speed = GPIO_SPEED_FREQ_VERY_HIGH;
  GPIO_InitStruct.Alternate = GPIO_AF6_SPI3;
  HAL_GPIO_Init(GPIOC, &GPIO_InitStruct);

  /*Configure GPIO pin : PMOD_SPI2_SCK_Pin */
  GPIO_InitStruct.Pin = PMOD_SPI2_SCK_Pin;
  GPIO_InitStruct.Mode = GPIO_MODE_AF_PP;
  GPIO_InitStruct.Pull = GPIO_NOPULL;
  GPIO_InitStruct.Speed = GPIO_SPEED_FREQ_VERY_HIGH;
  GPIO_InitStruct.Alternate = GPIO_AF5_SPI2;
  HAL_GPIO_Init(PMOD_SPI2_SCK_GPIO_Port, &GPIO_InitStruct);

  /*Configure GPIO pins : PMOD_UART2_CTS_Pin PMOD_UART2_RTS_Pin PMOD_UART2_TX_Pin PMOD_UART2_RX_Pin */
  GPIO_InitStruct.Pin = PMOD_UART2_CTS_Pin | PMOD_UART2_RTS_Pin | PMOD_UART2_TX_Pin | PMOD_UART2_RX_Pin;
  GPIO_InitStruct.Mode = GPIO_MODE_AF_PP;
  GPIO_InitStruct.Pull = GPIO_NOPULL;
  GPIO_InitStruct.Speed = GPIO_SPEED_FREQ_VERY_HIGH;
  GPIO_InitStruct.Alternate = GPIO_AF7_USART2;
  HAL_GPIO_Init(GPIOD, &GPIO_InitStruct);

  /*Configure GPIO pins : ARD_D15_Pin ARD_D14_Pin */
  GPIO_InitStruct.Pin = ARD_D15_Pin | ARD_D14_Pin;
  GPIO_InitStruct.Mode = GPIO_MODE_AF_OD;
  GPIO_InitStruct.Pull = GPIO_NOPULL;
  GPIO_InitStruct.Speed = GPIO_SPEED_FREQ_VERY_HIGH;
  GPIO_InitStruct.Alternate = GPIO_AF4_I2C1;
  HAL_GPIO_Init(GPIOB, &GPIO_InitStruct);

  /* EXTI interrupt init*/
  HAL_NVIC_SetPriority(EXTI9_5_IRQn, 0, 0);
  HAL_NVIC_EnableIRQ(EXTI9_5_IRQn);

  HAL_NVIC_SetPriority(EXTI15_10_IRQn, 0, 0);
  HAL_NVIC_EnableIRQ(EXTI15_10_IRQn);
}

void Error_Handler(void)
{
  __disable_irq();
  while (1)
  {
  }
}
